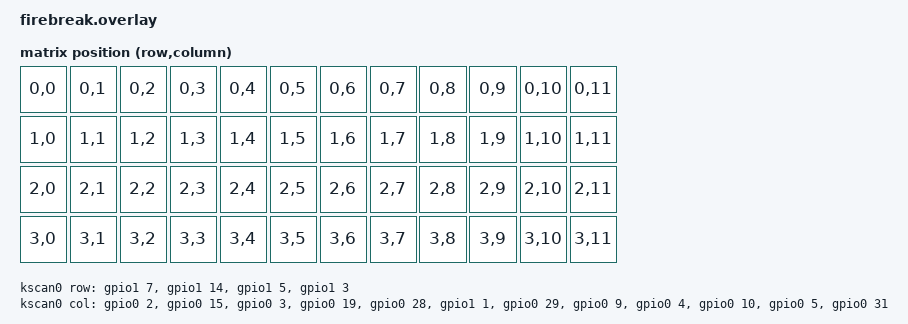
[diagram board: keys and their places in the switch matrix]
#include <dt-bindings/zmk/matrix_transform.h>
#include "firebreak-layouts.dtsi"

// matrix
/ {
    kscan0: kscan0 {
        compatible = "zmk,kscan-gpio-matrix";
        diode-direction = "col2row";
        wakeup-source;

        col-gpios
            = <&gpio0 2  GPIO_ACTIVE_HIGH>
            , <&gpio0 15 GPIO_ACTIVE_HIGH>
            , <&gpio0 3  GPIO_ACTIVE_HIGH>
            , <&gpio0 19 GPIO_ACTIVE_HIGH>
            , <&gpio0 28 GPIO_ACTIVE_HIGH>
            , <&gpio1 1  GPIO_ACTIVE_HIGH>
            , <&gpio0 29 GPIO_ACTIVE_HIGH>
            , <&gpio0 9  GPIO_ACTIVE_HIGH>
            , <&gpio0 4  GPIO_ACTIVE_HIGH>
            , <&gpio0 10 GPIO_ACTIVE_HIGH>
            , <&gpio0 5  GPIO_ACTIVE_HIGH>
            , <&gpio0 31 GPIO_ACTIVE_HIGH>
            ;

        row-gpios
            = <&gpio1 7  (GPIO_ACTIVE_HIGH | GPIO_PULL_DOWN)>
            , <&gpio1 14 (GPIO_ACTIVE_HIGH | GPIO_PULL_DOWN)>
            , <&gpio1 5  (GPIO_ACTIVE_HIGH | GPIO_PULL_DOWN)>
            , <&gpio1 3  (GPIO_ACTIVE_HIGH | GPIO_PULL_DOWN)>
            ;
    };
};

// transform
/ {
    default_transform: keymap_transform0 {
        compatible = "zmk,matrix-transform";
        columns = <12>; // Length of the "col-gpios" array
        rows = <4>; // Length of the "row-gpios" array
        map = <
            RC(0,0) RC(0,1) RC(0,2) RC(0,3) RC(0,4) RC(0,5) RC(0,6) RC(0,7) RC(0,8) RC(0,9) RC(0,10) RC(0,11)
            RC(1,0) RC(1,1) RC(1,2) RC(1,3) RC(1,4) RC(1,5) RC(1,6) RC(1,7) RC(1,8) RC(1,9) RC(1,10) RC(1,11)
            RC(2,0) RC(2,1) RC(2,2) RC(2,3) RC(2,4) RC(2,5) RC(2,6) RC(2,7) RC(2,8) RC(2,9) RC(2,10) RC(2,11)
            RC(3,0) RC(3,1) RC(3,2) RC(3,3) RC(3,4) RC(3,5) RC(3,6) RC(3,7) RC(3,8) RC(3,9) RC(3,10) RC(3,11)
        >;
    };
};

// layout stuff
&physical_layout0 {
    // kscan = <&kscan0>; // Label of the kscan node this layout uses
    transform = <&default_transform>; // Label of the matrix transform this layout uses
};

/ {
    chosen {
        zmk,kscan = &kscan0;
        zmk,physical-layout = &physical_layout0;
        // Other chosen items
    };
};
